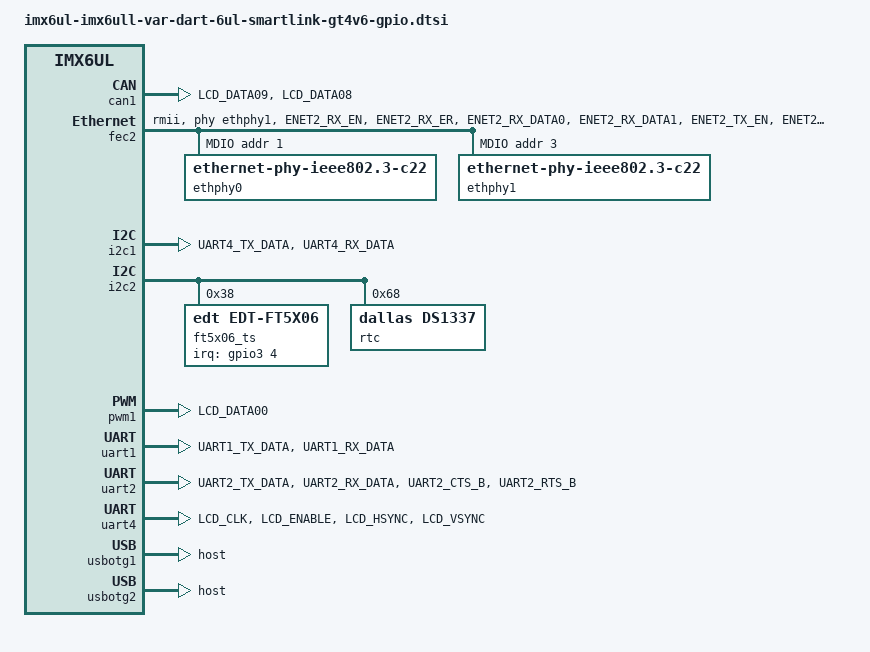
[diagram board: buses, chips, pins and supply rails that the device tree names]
/*
 * Copyright (C) 2015-2019 Variscite Ltd. - https://www.variscite.com
 *
 * This program is free software; you can redistribute it and/or modify
 * it under the terms of the GNU General Public License version 2 as
 * published by the Free Software Foundation.
 */

/ {
	backlight {
		compatible = "pwm-backlight";
		pwms = <&pwm1 0 20000>;
		brightness-levels = <0 4 8 16 32 64 128 255>;
		default-brightness-level = <6>;
		status = "disable";
	};

	chosen {
		stdout-path = &uart1;
	};

	/*
	keys {
		compatible = "gpio-keys";
		pinctrl-names = "default";
		pinctrl-0 = <&pinctrl_gpio_keys>;

		user {
			gpios = <&gpio1 0 GPIO_ACTIVE_LOW>;
			linux,code = <KEY_BACK>;
			gpio-key,wakeup;
		};
	};
	*/

	/*
	leds {
		compatible = "gpio-leds";
		pinctrl-names = "default";
		pinctrl-0 = <&pinctrl_gpio_leds>;

		d16_led {
			gpios = <&gpio4 20 GPIO_ACTIVE_HIGH>;
			linux,default-trigger = "heartbeat";
		};
	};
	*/
};

&can1 {
	pinctrl-names = "default";
	pinctrl-0 = <&pinctrl_flexcan1>;
	status = "okay";
};

&fec1 {
	pinctrl-0 = <&pinctrl_enet1>, <&pinctrl_enet1_gpio>;
	/delete-node/ mdio;
};

&fec2 {
	pinctrl-names = "default";
	pinctrl-0 = <&pinctrl_enet2>, <&pinctrl_enet2_gpio>, <&pinctrl_enet2_mdio>;
	phy-mode = "rmii";
	phy-handle = <&ethphy1>;
	phy-reset-gpios=<&gpio1 10 GPIO_ACTIVE_LOW>;
	phy-reset-duration=<100>;
	phy-reset-on-resume;
	status = "okay";

	mdio {
		#address-cells = <1>;
		#size-cells = <0>;

		ethphy0: ethernet-phy@1 {
			compatible = "ethernet-phy-ieee802.3-c22";
			micrel,rmii-reference-clock-select-25-mhz;
			micrel,led-mode = <1>;
			clocks = <&rmii_ref_clk>;
			clock-names = "rmii-ref";
			reg = <1>;
		};

		ethphy1: ethernet-phy@3 {
			compatible = "ethernet-phy-ieee802.3-c22";
			micrel,rmii-reference-clock-select-25-mhz;
			micrel,led-mode = <1>;
			clocks = <&rmii_ref_clk>;
			clock-names = "rmii-ref";
			reg = <3>;
		};
	};
};

&i2c1 {
	clock_frequency = <400000>;
	pinctrl-names = "default";
	pinctrl-0 = <&pinctrl_i2c1>;
	status = "okay";
};

&i2c2 {
	ft5x06_ts@38 {
		compatible = "edt,edt-ft5x06";
		reg = <0x38>;
		pinctrl-names = "default";
		pinctrl-0 = <&pinctrl_ft5x06_ts_gpio>;
		interrupt-parent = <&gpio3>;
		interrupts = <4 0>;
		touchscreen-size-x = <800>;
		touchscreen-size-y = <480>;
		touchscreen-inverted-x;
		touchscreen-inverted-y;
	};

	/* DS1337 RTC module */
	rtc@0x68 {
		compatible = "dallas,ds1337";
		reg = <0x68>;
	/*	pinctrl-names = "default";
		pinctrl-0 = <&pinctrl_rtc>;
		interrupt-parent = <&gpio5>;
		interrupts = <7 IRQ_TYPE_EDGE_FALLING>;*/
	};
};

&iomuxc {
	pinctrl-names = "default";
	pinctrl-0 = <&pinctrl_hog_1>;

	pinctrl_hog_1: hoggrp-1 {
			fsl,pins = <
				/* OUTPUT */
				/*MX6UL_PAD_CSI_HSYNC__GPIO4_IO20		0x1b0b0	*/   /* User LED */
				/*MX6UL_PAD_GPIO1_IO00__GPIO1_IO00	0x17059	 */  /* User Button */
				MX6UL_PAD_GPIO1_IO00__GPIO1_IO00	0x1b0b0	/* Mains LED J2.60 */ 
				MX6UL_PAD_CSI_HSYNC__GPIO4_IO20		0x1b0b0	/* Comms LED J1.86 */
				MX6UL_PAD_GPIO1_IO02__GPIO1_IO02	0x1b0b0 /* Output power LED  J2.48 */
				MX6UL_PAD_CSI_DATA07__GPIO4_IO28	0x1b0b0 /* Sleep mode control EC25 J2.36 */
				
				MX6UL_PAD_CSI_DATA05__GPIO4_IO26	0x1b0b0 /* GPS Indicator J2.32 */
				MX6UL_PAD_CSI_DATA04__GPIO4_IO25	0x1b0b0 /* BT activity indicator J2.30 */
				MX6UL_PAD_CSI_DATA06__GPIO4_IO27	0x1b0b0 /* WiFi activity indicator J2.38  */
				/*MX6UL_PAD_SNVS_TAMPER5__GPIO5_IO05	0x1b0b0 */  /* External W_DOG manual reset */
				MX6UL_PAD_CSI_PIXCLK__GPIO4_IO18	0x1b0b0 /* leave low  - disable charging and re-enable charging J1.64 */

				/* define the RS232 IO here as output*/				
				MX6UL_PAD_UART3_RX_DATA__GPIO1_IO25	0x1b0b0 /*GPOIO PIN*/	
				MX6UL_PAD_UART3_CTS_B__GPIO1_IO26	0x1b0b0 /*GPOIO PIN*/
				MX6UL_PAD_SNVS_TAMPER1__GPIO5_IO01	0x1b0b0 /* USB HUB RESET*/
				/* UART5 */
				MX6UL_PAD_CSI_DATA01__GPIO4_IO22	0x1b0b0 /*GPOIO PIN*/	

				
				/* INPUT */
				MX6UL_PAD_GPIO1_IO01__GPIO1_IO01 	0x17059 /* USB HUB SUSPEND J2.44 */
				/*MX6UL_PAD_SNVS_TAMPER5__GPIO5_IO05	0x17059 /* CHARGE STAT 2 J1.51   */
				/*MX6UL_PAD_CSI_MCLK__GPIO4_IO17		0x17059 */    /* CHARGE STAT 2 */
				MX6UL_PAD_GPIO1_IO04__GPIO1_IO04	0x17059 /* CHARGE STAT 1 J2.52 */
				MX6UL_PAD_GPIO1_IO05__GPIO1_IO05	0x17059 /* PG J2.27 */
				/*MX6UL_PAD_SNVS_TAMPER7__GPIO5_IO07	0x17059 */ /* RTC Interrupt */
				MX6UL_PAD_GPIO1_IO09__GPIO1_IO09	0x17059 /* V BAT ADC pin Enable J2.42 */

				/* define the RS232 IO here as input*/	
				MX6UL_PAD_UART3_TX_DATA__GPIO1_IO24 	0x17059 /*GPOIO PIN*/	
				MX6UL_PAD_UART3_RTS_B__GPIO1_IO27	0x17059 /*GPOIO PIN*/	
				/* UART5 */
				MX6UL_PAD_CSI_DATA00__GPIO4_IO21	0x17059 /*GPOIO PIN*/	
				
			>;
	};

	pinctrl_enet2: enet2grp {
		fsl,pins = <
			MX6UL_PAD_ENET2_RX_EN__ENET2_RX_EN	0x1b0b0
			MX6UL_PAD_ENET2_RX_ER__ENET2_RX_ER	0x1b0b0
			MX6UL_PAD_ENET2_RX_DATA0__ENET2_RDATA00	0x1b0b0
			MX6UL_PAD_ENET2_RX_DATA1__ENET2_RDATA01	0x1b0b0
			MX6UL_PAD_ENET2_TX_EN__ENET2_TX_EN	0x1b0b0
			MX6UL_PAD_ENET2_TX_DATA0__ENET2_TDATA00	0x1b0b0
			MX6UL_PAD_ENET2_TX_DATA1__ENET2_TDATA01	0x1b0b0
			MX6UL_PAD_ENET2_TX_CLK__ENET2_REF_CLK2	0x4001b031
		>;
	};

	pinctrl_enet2_gpio: enet2_gpiogrp {
		fsl,pins = <
			MX6UL_PAD_JTAG_MOD__GPIO1_IO10		0x1b0b0 /* fec2 reset */
		>;
	};

	pinctrl_enet2_mdio: enet2_mdiogrp {
		fsl,pins = <
			MX6UL_PAD_GPIO1_IO06__ENET2_MDIO	0x1b0b0
			MX6UL_PAD_GPIO1_IO07__ENET2_MDC		0x1b0b0
		>;
	};

	pinctrl_flexcan1: flexcan1grp {
		fsl,pins = <
			MX6UL_PAD_LCD_DATA09__FLEXCAN1_RX	0x1b020
			MX6UL_PAD_LCD_DATA08__FLEXCAN1_TX	0x1b020
		>;
	};

	pinctrl_ft5x06_ts_gpio: ft5x06_ts_gpiogrp {
		fsl,pins = <
			MX6UL_PAD_LCD_RESET__GPIO3_IO04		0x80000000
		>;
	};

	/*	
	pinctrl_gpio_keys: gpio_keysgrp {
		fsl,pins = <
			MX6UL_PAD_GPIO1_IO00__GPIO1_IO00	0x17059  User Button 
		>;
	};
	*/

	/*
	pinctrl_gpio_leds: gpio_ledsgrp {
		fsl,pins = <
			MX6UL_PAD_CSI_HSYNC__GPIO4_IO20		0x1b0b0  User LED 
		>;
	};*/

	pinctrl_i2c1: i2c1grp {
		fsl,pins = <
			MX6UL_PAD_UART4_TX_DATA__I2C1_SCL	0x4001b8b0
			MX6UL_PAD_UART4_RX_DATA__I2C1_SDA	0x4001b8b0
		>;
	};

	pinctrl_lcdif_ctrl: lcdifctrlgrp {
		fsl,pins = <
			MX6UL_PAD_LCD_CLK__LCDIF_CLK		0x79
			MX6UL_PAD_LCD_ENABLE__LCDIF_ENABLE	0x79
		>;
	};

	pinctrl_lcdif_dat: lcdifdatgrp {
		fsl,pins = <
			MX6UL_PAD_LCD_DATA02__LCDIF_DATA02	0x79
			MX6UL_PAD_LCD_DATA03__LCDIF_DATA03	0x79
			MX6UL_PAD_LCD_DATA04__LCDIF_DATA04	0x79
			MX6UL_PAD_LCD_DATA05__LCDIF_DATA05	0x79
			MX6UL_PAD_LCD_DATA06__LCDIF_DATA06	0x79
			MX6UL_PAD_LCD_DATA07__LCDIF_DATA07	0x79
			MX6UL_PAD_LCD_DATA10__LCDIF_DATA10	0x79
			MX6UL_PAD_LCD_DATA11__LCDIF_DATA11	0x79
			MX6UL_PAD_LCD_DATA12__LCDIF_DATA12	0x79
			MX6UL_PAD_LCD_DATA13__LCDIF_DATA13	0x79
			MX6UL_PAD_LCD_DATA14__LCDIF_DATA14	0x79
			MX6UL_PAD_LCD_DATA15__LCDIF_DATA15	0x79
			MX6UL_PAD_LCD_DATA18__LCDIF_DATA18	0x79
			MX6UL_PAD_LCD_DATA19__LCDIF_DATA19	0x79
			MX6UL_PAD_LCD_DATA20__LCDIF_DATA20	0x79
			MX6UL_PAD_LCD_DATA21__LCDIF_DATA21	0x79
			MX6UL_PAD_LCD_DATA22__LCDIF_DATA22	0x79
			MX6UL_PAD_LCD_DATA23__LCDIF_DATA23	0x79
		>;
	};

	pinctrl_pwm1: pwm1grp {
		fsl,pins = <
			MX6UL_PAD_LCD_DATA00__PWM1_OUT		0x110b0
		>;
	};

	pinctrl_uart1: uart1grp {
		fsl,pins = <
			MX6UL_PAD_UART1_TX_DATA__UART1_DCE_TX	0x1b0b1
			MX6UL_PAD_UART1_RX_DATA__UART1_DCE_RX	0x1b0b1
		>;
	};

	pinctrl_uart2: uart2grp {
		fsl,pins = <
			MX6UL_PAD_UART2_TX_DATA__UART2_DCE_TX	0x1b0b1
			MX6UL_PAD_UART2_RX_DATA__UART2_DCE_RX	0x1b0b1
			MX6UL_PAD_UART2_CTS_B__UART2_DCE_CTS	0x1b0b1
			MX6UL_PAD_UART2_RTS_B__UART2_DCE_RTS	0x1b0b1
		>;
	};

	pinctrl_uart3: uart3grp {
		fsl,pins = <
			MX6UL_PAD_UART3_TX_DATA__UART3_DCE_TX	0x1b0b1
			MX6UL_PAD_UART3_RX_DATA__UART3_DCE_RX	0x1b0b1
			MX6UL_PAD_UART3_CTS_B__UART3_DCE_CTS	0x1b0b1
			MX6UL_PAD_UART3_RTS_B__UART3_DCE_RTS	0x1b0b1
		>;
	};

/*
			1b0b1 - 11011000010110001 - original
			1f0b1 - 11111000010110001 - with 47K pullup - PAD_CTL_PUS_47K_UP	(1 << 14)
			47K instrad of a 100K - stronger pullup	
*/
	pinctrl_uart4: uart4grp {
		fsl,pins = <
			MX6UL_PAD_LCD_CLK__UART4_DCE_TX		0x1b0b1
			MX6UL_PAD_LCD_ENABLE__UART4_DCE_RX	0x1f0b1
			MX6UL_PAD_LCD_HSYNC__UART4_DCE_CTS	0x1b0b1
			MX6UL_PAD_LCD_VSYNC__UART4_DCE_RTS	0x1b0b1
		>;
	};

	pinctrl_uart5: uart5grp {
		fsl,pins = <
			MX6UL_PAD_CSI_DATA00__UART5_DCE_TX	0x1b0b1
			MX6UL_PAD_CSI_DATA01__UART5_DCE_RX	0x1b0b1
			MX6UL_PAD_CSI_DATA03__UART5_DCE_CTS	0x1b0b1
			MX6UL_PAD_CSI_DATA02__UART5_DCE_RTS	0x1b0b1
		>;
	};


	pinctrl_wdog: wdoggrp {
		fsl,pins = <
			MX6UL_PAD_GPIO1_IO08__WDOG1_WDOG_B	0x78b0
		>;
	};
};

&lcdif {
	pinctrl-names = "default";
	pinctrl-0 = <&pinctrl_lcdif_dat
		     &pinctrl_lcdif_ctrl>;
	display = <&display0>;
	/* MME We don't need the LCD Greystone */
	status = "disabled";

	display0: display {
		bits-per-pixel = <16>;
		bus-width = <24>;

		display-timings {
			native-mode = <&timing0>;
			timing0: timing0 {
				clock-frequency =<35000000>;
				hactive = <800>;
				vactive = <480>;
				hfront-porch = <40>;
				hback-porch = <40>;
				hsync-len = <48>;
				vback-porch = <29>;
				vfront-porch = <13>;
				vsync-len = <3>;
				hsync-active = <0>;
				vsync-active = <0>;
				de-active = <1>;
				pixelclk-active = <0>;
			};
		};
	};
};

&pwm1 {
	pinctrl-names = "default";
	pinctrl-0 = <&pinctrl_pwm1>;
	status = "okay";
};

/* Console UART */
&uart1 {
	pinctrl-names = "default";
	pinctrl-0 = <&pinctrl_uart1>;
	status = "okay";
};


/* ttymxc1 Bluetooth UART USB Serial Bridge*/
&uart2 {
	pinctrl-names = "default";
	pinctrl-0 = <&pinctrl_uart2>;
	fsl,uart-has-rtscts;
	status = "okay";
};

/* ttymxc2 UART 3 DB 9-Way for gpio we disable this */
&uart3 {
	pinctrl-names = "default";
	pinctrl-0 = <&pinctrl_uart3>;
	fsl,uart-has-rtscts;
	status = "disable";
};

/* ttymxc3 UART 4 GSM Coms */
&uart4 {
	pinctrl-names = "default";
	pinctrl-0 = <&pinctrl_uart4>;
	fsl,uart-has-rtscts;
	status = "okay";
};

/* ttymxc4 UART 5 GPS Coms. we don't need this on GT4. USB enumerates 4 com ports */
&uart5 {
	pinctrl-names = "default";
	pinctrl-0 = <&pinctrl_uart5>;
	fsl,uart-has-rtscts;
	status = "disable";
};


&usbotg1 {
	dr_mode = "host";
	status = "okay";
};

&usbotg2 {
	dr_mode = "host";
	status = "okay";
};

&wdog1 {
	pinctrl-names = "default";
	pinctrl-0 = <&pinctrl_wdog>;
	fsl,ext-reset-output;
};
